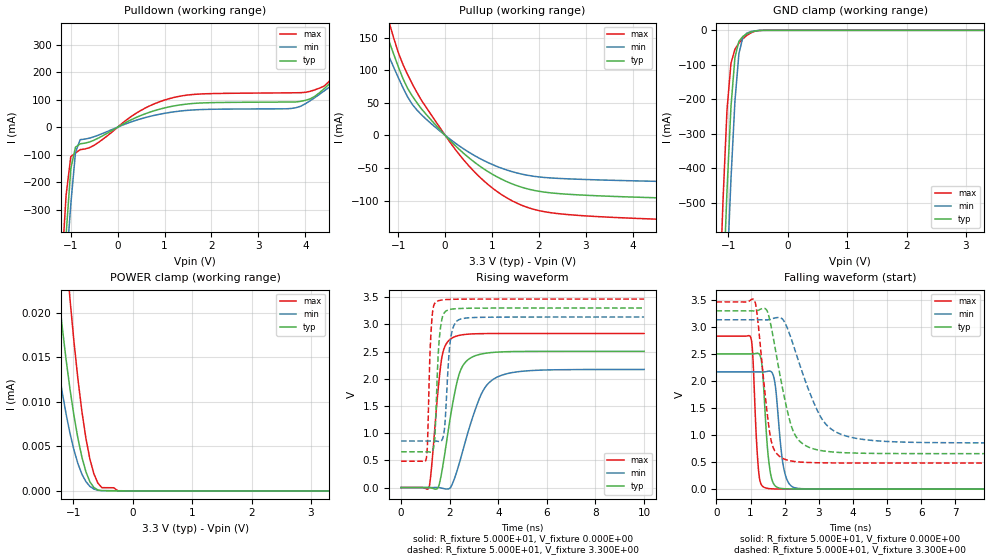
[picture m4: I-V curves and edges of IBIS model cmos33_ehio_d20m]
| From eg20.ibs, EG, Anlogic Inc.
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|   Model cmos33_ehio_d20m
[Model] cmos33_ehio_d20m
Model_type I/O
Enable   Active-Low
Vinl =  8.000E-01
Vinh =  2.000E+00
Vmeas =  1.650E+00
C_comp   4.500E-12   4.200E-12   4.800E-12
[Temperature Range]   2.500E+01   8.500E+01   -4.000E+01
[Voltage Range]   3.300E+00   3.135E+00   3.465E+00
[POWER Clamp Reference]   3.300E+00   3.135E+00   3.465E+00
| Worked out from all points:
|   slope of the pulldown table from 0 to 0.495 V, typ, clamps not added: 11.7 ohm
|   slope of the pullup table from 0 to 0.495 V, typ, clamps not added: 14.6 ohm
|   GND clamp passes 1 mA (typ) near -0.51 V on its own axis
|   rising waveform, R_fixture 5.000E+01, V_fixture 0.000E+00: 20-80 % time 582ps typ, 936ps min, 344ps max; typ from 0 V to 2.5 V
|   rising waveform, R_fixture 5.000E+01, V_fixture 3.300E+00: 20-80 % time 163ps typ, 196ps min, 129ps max; typ from 0.657 V to 3.3 V
|   falling waveform, R_fixture 5.000E+01, V_fixture 0.000E+00: 20-80 % time 165ps typ, 202ps min, 125ps max; typ from 2.5 V to 0 V
|   falling waveform, R_fixture 5.000E+01, V_fixture 3.300E+00: 20-80 % time 512ps typ, 832ps min, 300ps max; typ from 3.3 V to 0.657 V
[Pulldown]
|Voltage   I(typ)   I(min)   I(max)
-3.3V     -5.949A    -5.532A    -6.455A
-1.2V     -645.7mA   -741.2mA   -529.9mA
-1.1V     -392.7mA   -512.8mA   -247.7mA
-1V       -151mA     -281mA     -107mA
-900mV    -73.02mA   -91.54mA   -94.31mA
-800mV    -60.51mA   -45.52mA   -81.64mA
1.1V      73.73mA    53.15mA    103.6mA
3.9V      93.85mA    75.88mA    125.2mA
4.5V      155.1mA    143.9mA    164.6mA
5.4V      306.2mA    263.7mA    359.4mA
5.8V      375.7mA    318.9mA    448.9mA
6.6V      517.1mA    430.8mA    629.4mA
[Pullup]
|Voltage   I(typ)   I(min)   I(max)
-3.3V     470.9mA    351.1mA    626.5mA
-1.5V     206.8mA    171.3mA    250.3mA
-1.3V     165.7mA    137.8mA    199.5mA
-1.2V     145.2mA    121.2mA    174.4mA
-900mV    87.02mA    73.04mA    108.7mA
-700mV    60.2mA     47.4mA     78.65mA
200mV     -14.7mA    -11.05mA   -20.1mA
900mV     -55mA      -41.27mA   -74.57mA
1.6V      -78.84mA   -58.89mA   -106.3mA
2.5V      -89.73mA   -66.29mA   -120.7mA
5.6V      -98.48mA   -72.55mA   -132.3mA
6.6V      -104.5mA   -77.07mA   -141.1mA
[GND_clamp]
|Voltage   I(typ)   I(min)   I(max)
-3.3V     -13.27A    -13.19A    -13.36A
-1.156V   -1.094A    -1.337A    -819.5mA
-1.089V   -767.1mA   -1.018A    -495.5mA
-1.022V   -466.7mA   -711mA     -232.4mA
-955mV    -221.7mA   -432.2mA   -95.74mA
-888mV    -78.86mA   -205.2mA   -54.97mA
-821mV    -31.69mA   -67.5mA    -37.18mA
-754mV    -17.67mA   -19.97mA   -24.38mA
-687mV    -10.19mA   -8.141mA   -14.58mA
-553mV    -2.019mA   -1.503mA   -2.763mA
-419mV    -87.67uA   -92.52uA   -70.16uA
3.3V      0A         0A         0A
[POWER_clamp]
|Voltage   I(typ)   I(min)   I(max)
-3.3V     274.8uA    208uA      379uA
-1.457V   37.35uA    24.22uA    60.83uA
-1.39V    32.14uA    20.55uA    53.14uA
-1.256V   22.74uA    14.02uA    39.05uA
-1.055V   11.4uA     6.455uA    21.51uA
-921mV    5.875uA    3.046uA    12.51uA
-854mV    3.77uA     1.871uA    8.882uA
-720mV    1.016uA    508.4nA    3.563uA
-653mV    378.7nA    211.4nA    1.919uA
-519mV    33.74nA    28.05nA    366.5nA
-251mV    15.63nA    21.96nA    13.64nA
3.3V      0A         0A         0A
[Ramp]
| variable   typ   min   max
dV/dt_r   1.503E+00/5.846E-10   1.302E+00/9.386E-10   1.699E+00/3.510E-10
dV/dt_f   1.586E+00/5.249E-10   1.368E+00/8.515E-10   1.789E+00/3.106E-10
R_load = 5.000E+01
[Rising Waveform]
R_fixture= 5.000E+01
V_fixture= 0.000E+00
V_fixture_min= 0.000E+00
V_fixture_max= 0.000E+00
|time   V(typ)   V(min)   V(max)
0s        0V         0V         0V
1.156ns   1.404mV    3.883uV    12.45mV
1.51ns    -12.3mV    1.462mV    1.729V
1.664ns   255.5mV    -9.117mV   2.351V
2.089ns   1.454V     45.27mV    2.746V
2.33ns    1.989V     346.9mV    2.791V
2.58ns    2.266V     740.1mV    2.812V
3.23ns    2.447V     1.644V     2.829V
3.809ns   2.485V     1.994V     2.831V
10ns      2.504V     2.171V     2.832V
[Rising Waveform]
R_fixture= 5.000E+01
V_fixture= 3.300E+00
V_fixture_min= 3.135E+00
V_fixture_max= 3.465E+00
|time   V(typ)   V(min)   V(max)
0s        657.4mV    855.6mV    483.3mV
1.037ns   657.7mV    855.6mV    530.3mV
1.241ns   651.1mV    855.6mV    2.912V
1.441ns   1.449V     855mV      3.413V
1.55ns    2.598V     846.1mV    3.436V
1.68ns    3.093V     871mV      3.448V
1.799ns   3.224V     1.14V      3.453V
2.019ns   3.274V     2.669V     3.459V
2.329ns   3.29V      3.072V     3.462V
10ns      3.3V       3.135V     3.465V
[Falling Waveform]
R_fixture= 5.000E+01
V_fixture= 0.000E+00
V_fixture_min= 0.000E+00
V_fixture_max= 0.000E+00
|time   V(typ)   V(min)   V(max)
0s        2.504V     2.171V     2.832V
1.012ns   2.504V     2.171V     2.794V
1.064ns   2.504V     2.171V     2.498V
1.233ns   2.511V     2.171V     360.9mV
1.337ns   2.284V     2.17V      63.82mV
1.427ns   1.413V     2.172V     25.9mV
1.645ns   143.2mV    2.141V     5.889mV
1.961ns   9.623mV    426.8mV    2.277mV
2.271ns   3.574mV    30.7mV     1.161mV
10ns      0V         1.297uV    0V
[Falling Waveform]
R_fixture= 5.000E+01
V_fixture= 3.300E+00
V_fixture_min= 3.135E+00
V_fixture_max= 3.465E+00
|time   V(typ)   V(min)   V(max)
0s        3.3V       3.135V     3.465V
1.121ns   3.298V     3.135V     3.484V
1.432ns   3.34V      3.134V     1.726V
1.582ns   3.076V     3.142V     970.2mV
1.947ns   1.835V     3.141V     568.8mV
2.197ns   1.166V     2.773V     521mV
2.428ns   895.4mV    2.329V     503.3mV
3.016ns   720mV      1.381V     488.2mV
3.576ns   680.7mV    1.035V     484.7mV
10ns      657.4mV    855.7mV    483.3mV
